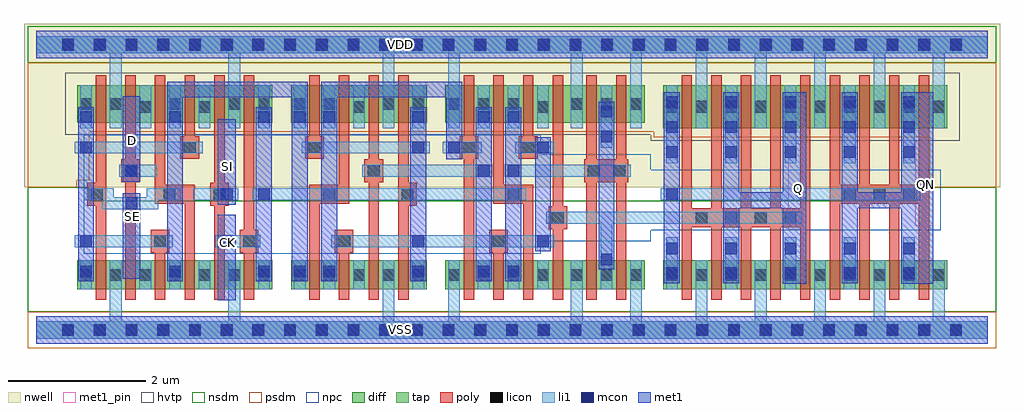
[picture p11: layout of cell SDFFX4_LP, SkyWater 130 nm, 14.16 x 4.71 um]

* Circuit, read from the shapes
.subckt SDFFX4_LP CK D Q QN SE SI VDD VSS
XM1 VSS SE n1 VSS sky130_fd_pr__nfet_01v8 w=0.42 l=0.15
XM2 n2 D VSS VSS sky130_fd_pr__nfet_01v8 w=0.42 l=0.15
XM3 n3 n1 n2 VSS sky130_fd_pr__nfet_01v8 w=0.42 l=0.15
XM4 n4 SE n3 VSS sky130_fd_pr__nfet_01v8 w=0.42 l=0.15
XM5 VSS SI n4 VSS sky130_fd_pr__nfet_01v8 w=0.42 l=0.15
XM6 n5 CK VSS VSS sky130_fd_pr__nfet_01v8 w=0.42 l=0.15
XM7 n6 n5 n3 VSS sky130_fd_pr__nfet_01v8 w=0.42 l=0.15
XM8 n7 n8 n6 VSS sky130_fd_pr__nfet_01v8 w=0.42 l=0.15
XM9 VSS n9 n7 VSS sky130_fd_pr__nfet_01v8 w=0.42 l=0.15
XM10 n8 n5 VSS VSS sky130_fd_pr__nfet_01v8 w=0.42 l=0.15
XM11 n9 n6 VSS VSS sky130_fd_pr__nfet_01v8 w=0.42 l=0.15
XM12 n10 n8 n9 VSS sky130_fd_pr__nfet_01v8 w=0.42 l=0.15
XM13 n11 n5 n10 VSS sky130_fd_pr__nfet_01v8 w=0.42 l=0.15
XM14 VSS n12 n11 VSS sky130_fd_pr__nfet_01v8 w=0.42 l=0.15
XM15 n12 n10 VSS VSS sky130_fd_pr__nfet_01v8 w=0.42 l=0.15 m=2
XM16 VSS n12 n13 VSS sky130_fd_pr__nfet_01v8 w=0.42 l=0.15
XM17 Q n12 VSS VSS sky130_fd_pr__nfet_01v8 w=0.42 l=0.15 m=4
XM18 QN n13 VSS VSS sky130_fd_pr__nfet_01v8 w=0.42 l=0.15 m=4
XM19 VDD SE n1 VDD sky130_fd_pr__pfet_01v8_hvt w=0.54 l=0.15
XM20 n14 D VDD VDD sky130_fd_pr__pfet_01v8_hvt w=0.54 l=0.15
XM21 n3 SE n14 VDD sky130_fd_pr__pfet_01v8_hvt w=0.54 l=0.15
XM22 n15 n1 n3 VDD sky130_fd_pr__pfet_01v8_hvt w=0.54 l=0.15
XM23 VDD SI n15 VDD sky130_fd_pr__pfet_01v8_hvt w=0.54 l=0.15
XM24 n5 CK VDD VDD sky130_fd_pr__pfet_01v8_hvt w=0.54 l=0.15
XM25 n6 n8 n3 VDD sky130_fd_pr__pfet_01v8_hvt w=0.54 l=0.15
XM26 n16 n5 n6 VDD sky130_fd_pr__pfet_01v8_hvt w=0.54 l=0.15
XM27 VDD n9 n16 VDD sky130_fd_pr__pfet_01v8_hvt w=0.54 l=0.15
XM28 n8 n5 VDD VDD sky130_fd_pr__pfet_01v8_hvt w=0.54 l=0.15
XM29 n9 n6 VDD VDD sky130_fd_pr__pfet_01v8_hvt w=0.54 l=0.15
XM30 n10 n5 n9 VDD sky130_fd_pr__pfet_01v8_hvt w=0.54 l=0.15
XM31 n17 n8 n10 VDD sky130_fd_pr__pfet_01v8_hvt w=0.54 l=0.15
XM32 VDD n12 n17 VDD sky130_fd_pr__pfet_01v8_hvt w=0.54 l=0.15
XM33 n12 n10 VDD VDD sky130_fd_pr__pfet_01v8_hvt w=0.54 l=0.15 m=2
XM34 VDD n12 n13 VDD sky130_fd_pr__pfet_01v8_hvt w=0.62 l=0.15
XM35 Q n12 VDD VDD sky130_fd_pr__pfet_01v8_hvt w=0.62 l=0.15 m=4
XM36 QN n13 VDD VDD sky130_fd_pr__pfet_01v8_hvt w=0.62 l=0.15 m=4
.ends

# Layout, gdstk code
from math import pi, radians
import gdstk
lib = gdstk.Library(unit=1e-6, precision=1e-09)
def R(c, l, rs):  # rectangles x0, y0, x1, y1
    for r in rs: c.add(gdstk.rectangle(r[:2], r[2:], *l))
def A(c, l, x, y, w, h, nx, ny, dx, dy):  # array of equal rectangles
    R(c, l, [(x+i*dx, y+j*dy, x+i*dx+w, y+j*dy+h) for i in range(nx) for j in range(ny)])
def P(c, l, *ps):  # polygons
    for p in ps: c.add(gdstk.Polygon(p, *l))
nwell = (64, 20)
diff = (65, 20)
tap = (65, 44)
poly = (66, 20)
licon = (66, 44)
li1 = (67, 20)
mcon = (67, 44)
met1_pin = (68, 16)
met1 = (68, 20)
hvtp = (78, 44)
nsdm = (93, 44)
psdm = (94, 20)
npc = (95, 20)

pyl1con_c_cdns_758729379 = lib.new_cell('PYL1CON_C_CDNS_758729379653')
R(pyl1con_c_cdns_758729379, poly, [(-0.135,-0.165,0.135,0.165)])
R(pyl1con_c_cdns_758729379, licon, [(-0.085,-0.085,0.085,0.085)])
R(pyl1con_c_cdns_758729379, npc, [(-0.185,-0.185,0.185,0.185)])

l1m1_c_cdns_758729379651 = lib.new_cell('L1M1_C_CDNS_7587293796510')
R(l1m1_c_cdns_758729379651, li1, [(-0.085,-0.525,0.085,0.525)])
A(l1m1_c_cdns_758729379651, mcon, -0.085, -0.445, 0.17, 0.17, 1, 3, 0, 0.36)
R(l1m1_c_cdns_758729379651, met1, [(-0.115,-0.505,0.115,0.505)])

l1m1_c_cdns_758729379655 = lib.new_cell('L1M1_C_CDNS_758729379655')
R(l1m1_c_cdns_758729379655, li1, [(-0.085,-0.165,0.085,0.165)])
R(l1m1_c_cdns_758729379655, mcon, [(-0.085,-0.085,0.085,0.085)])
R(l1m1_c_cdns_758729379655, met1, [(-0.115,-0.145,0.115,0.145)])

l1m1_c_cdns_758729379659 = lib.new_cell('L1M1_C_CDNS_758729379659')
R(l1m1_c_cdns_758729379659, li1, [(-0.085,-0.345,0.085,0.345)])
R(l1m1_c_cdns_758729379659, mcon, [(-0.085,-0.265,0.085,-0.095), (-0.085,0.095,0.085,0.265)])
R(l1m1_c_cdns_758729379659, met1, [(-0.115,-0.325,0.115,0.325)])

l1m1_c_cdns_758729379654 = lib.new_cell('L1M1_C_CDNS_758729379654')
R(l1m1_c_cdns_758729379654, li1, [(-0.165,-0.085,0.165,0.085)])
R(l1m1_c_cdns_758729379654, mcon, [(-0.085,-0.085,0.085,0.085)])
R(l1m1_c_cdns_758729379654, met1, [(-0.115,-0.145,0.115,0.145)])

licondiff_c_cdns_7587293 = lib.new_cell('LICONDIFF_C_CDNS_758729379657')
R(licondiff_c_cdns_7587293, diff, [(-0.125,-0.145,0.125,0.145)])
R(licondiff_c_cdns_7587293, licon, [(-0.085,-0.085,0.085,0.085), (-0.085,-0.085,0.085,0.085)])

c_pyl1con_c_cdns_758729379 = lib.new_cell('PYL1CON_C_CDNS_7587293796516')
R(c_pyl1con_c_cdns_758729379, poly, [(-0.135,-0.29,0.135,0.29)])
R(c_pyl1con_c_cdns_758729379, licon, [(-0.085,-0.085,0.085,0.085)])
R(c_pyl1con_c_cdns_758729379, npc, [(-0.185,-0.185,0.185,0.185)])

c_l1m1_c_cdns_758729379651 = lib.new_cell('L1M1_C_CDNS_7587293796519')
R(c_l1m1_c_cdns_758729379651, li1, [(-0.125,-0.085,0.125,0.085)])
R(c_l1m1_c_cdns_758729379651, mcon, [(-0.085,-0.085,0.085,0.085)])
R(c_l1m1_c_cdns_758729379651, met1, [(-0.115,-0.145,0.115,0.145)])

c_pyl1con_c_cdns_758729379_ = lib.new_cell('PYL1CON_C_CDNS_7587293796520')
R(c_pyl1con_c_cdns_758729379_, poly, [(-0.135,-0.37,0.135,0.21)])
R(c_pyl1con_c_cdns_758729379_, licon, [(-0.085,-0.085,0.085,0.085)])
R(c_pyl1con_c_cdns_758729379_, npc, [(-0.185,-0.185,0.185,0.185)])

sdffx4_lp = lib.new_cell('SDFFX4_LP')
R(sdffx4_lp, nwell, [(-0.18,2.07,13.98,4.445)])
R(sdffx4_lp, diff, [(0.595,0.59,3.425,1.01), (3.695,0.59,5.665,1.01), (5.935,0.59,8.825,1.01), (9.095,0.59,13.215,1.01), (9.095,2.93,13.215,3.55), (0.595,3.01,3.425,3.55), (3.695,3.01,5.665,3.55), (5.935,3.01,8.825,3.55)])
A(sdffx4_lp, poly, 9.36, 0.44, 0.15, 3.26, 9, 1, 0.43, 0)
R(sdffx4_lp, poly, [(0.86,0.44,1.01,3.7), (1.29,0.44,1.44,3.7), (1.72,0.44,1.87,1.16), (2.58,0.44,2.73,3.7), (3.01,0.44,3.16,3.7), (4.39,0.44,4.54,1.16), (4.82,0.44,4.97,3.7), (5.25,0.44,5.4,3.7), (6.2,0.44,6.35,3.7), (6.63,0.44,6.78,1.16), (7.49,0.44,7.64,3.7), (2.15,2.65,2.3,3.7), (3.96,2.65,4.11,3.7), (7.06,2.65,7.21,3.7)])
P(sdffx4_lp, poly, [(2.3,2.045),(1.87,2.045),(1.87,3.7),(1.72,3.7),(1.72,1.895),(2.15,1.895),(2.15,0.44),(2.3,0.44)],
  [(4.54,3.7),(4.39,3.7),(4.39,2.045),(3.96,2.045),(3.96,0.44),(4.11,0.44),(4.11,1.895),(4.54,1.895)],
  [(7.21,2.045),(6.78,2.045),(6.78,3.7),(6.63,3.7),(6.63,1.895),(7.06,1.895),(7.06,0.44),(7.21,0.44)],
  [(8.59,2.475),(8.56,2.475),(8.56,3.7),(8.41,3.7),(8.41,2.475),(8.13,2.475),(8.13,3.7),(7.98,3.7),(7.98,2.475),(7.95,2.475),(7.95,2.145),(7.98,2.145),(7.98,0.44),(8.13,0.44),(8.13,2.145),(8.41,2.145),(8.41,0.44),(8.56,0.44),(8.56,2.145),(8.59,2.145)])
A(sdffx4_lp, licon, 0.375, -0.085, 0.17, 0.17, 29, 2, 0.46, 4.14)
A(sdffx4_lp, licon, 1.065, 0.715, 0.17, 0.17, 3, 2, 0.86, 2.48)
A(sdffx4_lp, licon, 5.975, 0.715, 0.17, 0.17, 3, 2, 0.43, 2.48)
A(sdffx4_lp, licon, 7.755, 0.715, 0.17, 0.17, 3, 2, 0.43, 2.48)
A(sdffx4_lp, licon, 9.135, 0.715, 0.17, 0.17, 10, 2, 0.43, 2.44)
R(sdffx4_lp, licon, [(0.635,0.715,0.805,0.885), (3.215,0.715,3.385,0.885), (3.735,0.715,3.905,0.885), (4.165,0.715,4.335,0.885), (5.025,0.715,5.195,0.885), (5.455,0.715,5.625,0.885), (0.635,3.195,0.805,3.365), (3.215,3.195,3.385,3.365), (3.735,3.195,3.905,3.365), (4.165,3.195,4.335,3.365), (5.025,3.195,5.195,3.365), (5.455,3.195,5.625,3.365)])
A(sdffx4_lp, li1, 0.635, 0.59, 0.17, 0.42, 3, 1, 1.29, 0)
A(sdffx4_lp, li1, 9.135, 0.59, 0.17, 0.42, 5, 1, 0.86, 0)
A(sdffx4_lp, li1, 9.135, 2.93, 0.17, 0.62, 5, 1, 0.86, 0)
A(sdffx4_lp, li1, 0.635, 3.01, 0.17, 0.54, 3, 1, 1.29, 0)
R(sdffx4_lp, li1, [(3.735,0.59,3.905,1.01), (4.165,0.59,4.335,1.01), (5.455,0.59,5.625,1.01), (6.405,0.59,6.575,1.01), (6.835,0.59,7.005,1.01), (3.735,3.01,3.905,3.55), (4.165,3.01,4.335,3.55), (5.455,3.01,5.625,3.55), (6.405,3.01,6.575,3.55), (6.835,3.01,7.005,3.55), (8.185,3.01,8.355,3.55)])
P(sdffx4_lp, li1, [(2.095,2.055),(1.6,2.055),(1.6,1.925),(1.12,1.925),(1.12,2.055),(0.69,2.055),(0.69,1.885),(0.95,1.885),(0.95,1.755),(1.77,1.755),(1.77,1.885),(2.095,1.885)],
  [(11.105,1.715),(7.4,1.715),(7.4,1.545),(8.185,1.545),(8.185,0.59),(8.355,0.59),(8.355,1.545),(11.105,1.545)],
  [(13.8,4.265),(0,4.265),(0,4.015),(1.065,4.015),(1.065,2.925),(1.235,2.925),(1.235,4.015),(2.785,4.015),(2.785,2.925),(2.955,2.925),(2.955,4.015),(5.025,4.015),(5.025,2.925),(5.195,2.925),(5.195,4.015),(5.975,4.015),(5.975,2.925),(6.145,2.925),(6.145,4.015),(7.755,4.015),(7.755,2.925),(7.925,2.925),(7.925,4.015),(8.615,4.015),(8.615,2.925),(8.785,2.925),(8.785,4.015),(9.565,4.015),(9.565,2.925),(9.735,2.925),(9.735,4.015),(10.425,4.015),(10.425,2.925),(10.595,2.925),(10.595,4.015),(11.285,4.015),(11.285,2.925),(11.455,2.925),(11.455,4.015),(12.145,4.015),(12.145,2.925),(12.315,2.925),(12.315,4.015),(13.005,4.015),(13.005,2.925),(13.175,2.925),(13.175,4.015),(13.8,4.015)],
  [(13.8,0.125),(13.175,0.125),(13.175,1.015),(13.005,1.015),(13.005,0.125),(12.315,0.125),(12.315,1.015),(12.145,1.015),(12.145,0.125),(11.455,0.125),(11.455,1.015),(11.285,1.015),(11.285,0.125),(10.595,0.125),(10.595,1.015),(10.425,1.015),(10.425,0.125),(9.735,0.125),(9.735,1.015),(9.565,1.015),(9.565,0.125),(8.785,0.125),(8.785,1.015),(8.615,1.015),(8.615,0.125),(7.925,0.125),(7.925,1.015),(7.755,1.015),(7.755,0.125),(6.145,0.125),(6.145,1.015),(5.975,1.015),(5.975,0.125),(5.195,0.125),(5.195,1.015),(5.025,1.015),(5.025,0.125),(2.955,0.125),(2.955,1.015),(2.785,1.015),(2.785,0.125),(1.235,0.125),(1.235,1.015),(1.065,1.015),(1.065,0.125),(0,0.125),(0,-0.125),(13.8,-0.125)])
A(sdffx4_lp, mcon, 0.375, -0.085, 0.17, 0.17, 29, 2, 0.46, 4.14)
R(sdffx4_lp, met1_pin, [(2.63,0.435,2.89,1.675), (1.25,0.745,1.51,1.985), (10.91,1.465,11.17,2.705), (12.75,1.515,13.01,2.755), (2.63,1.82,2.89,3.06), (1.25,2.15,1.51,3.39)])
P(sdffx4_lp, met1, [(11.17,3.45),(10.825,3.45),(10.825,2),(10.195,2),(10.195,3.45),(9.965,3.45),(9.965,0.68),(10.195,0.68),(10.195,1.77),(10.825,1.77),(10.825,0.675),(11.17,0.675)],
  [(13.01,3.45),(12.545,3.45),(12.545,2),(11.915,2),(11.915,3.45),(11.685,3.45),(11.685,0.68),(11.915,0.68),(11.915,1.77),(12.545,1.77),(12.545,0.675),(13.01,0.675)])
P(sdffx4_lp, hvtp, [(13.395,3.73),(0.415,3.73),(0.415,2.83),(8.915,2.83),(8.915,2.75),(13.395,2.75)])
R(sdffx4_lp, nsdm, [(-0.125,3.875,13.925,4.405)])
P(sdffx4_lp, nsdm, [(13.925,2.07),(12.765,2.07),(12.765,1.875),(0.77,1.875),(0.77,2.07),(-0.125,2.07),(-0.125,0.265),(13.925,0.265)])
R(sdffx4_lp, psdm, [(-0.125,-0.265,13.925,0.265)])
P(sdffx4_lp, psdm, [(13.925,3.875),(-0.125,3.875),(-0.125,2.07),(0.585,2.07),(0.585,2.17),(0.77,2.17),(0.77,2.88),(8.955,2.88),(8.955,2.8),(12.95,2.8),(12.95,2.07),(13.925,2.07)])
P(sdffx4_lp, npc, [(13.12,2.325),(8.915,2.325),(8.915,2.55),(7.32,2.55),(7.32,2.835),(0.69,2.835),(0.69,1.11),(7.32,1.11),(7.32,1.285),(8.915,1.285),(8.915,1.445),(13.12,1.445)])
sdffx4_lp.add(gdstk.FlexPath([(5.895,2.65),(6.46,2.65)], 0.17, ends="flush", simple_path=True, layer=67, datatype=20))  # li1
sdffx4_lp.add(gdstk.FlexPath([(3.85,2.65),(5.705,2.65)], 0.17, ends="flush", simple_path=True, layer=67, datatype=20))  # li1
sdffx4_lp.add(gdstk.FlexPath([(6.615,2.31),(4.73,2.31)], 0.17, ends="flush", simple_path=True, layer=67, datatype=20))  # li1
sdffx4_lp.add(gdstk.FlexPath([(0.555,1.29),(1.98,1.29)], 0.17, ends="flush", simple_path=True, layer=67, datatype=20))  # li1
sdffx4_lp.add(gdstk.FlexPath([(4.68,2.925),(4.68,3.55)], 0.17, ends="flush", simple_path=True, layer=67, datatype=20))  # li1
sdffx4_lp.add(gdstk.FlexPath([(4.68,0.59),(4.68,1.015)], 0.17, ends="flush", simple_path=True, layer=67, datatype=20))  # li1
sdffx4_lp.add(gdstk.FlexPath([(2.82,1.97),(2.275,1.97)], 0.17, ends="flush", simple_path=True, layer=67, datatype=20))  # li1
sdffx4_lp.add(gdstk.FlexPath([(3.25,1.29),(2.705,1.29)], 0.17, ends="flush", simple_path=True, layer=67, datatype=20))  # li1
sdffx4_lp.add(gdstk.FlexPath([(3.135,1.97),(7.105,1.97)], 0.17, ends="flush", simple_path=True, layer=67, datatype=20))  # li1
sdffx4_lp.add(gdstk.FlexPath([(7.35,0.59),(7.35,1.015)], 0.17, ends="flush", simple_path=True, layer=67, datatype=20))  # li1
sdffx4_lp.add(gdstk.FlexPath([(7.35,2.925),(7.35,3.55)], 0.17, ends="flush", simple_path=True, layer=67, datatype=20))  # li1
sdffx4_lp.add(gdstk.FlexPath([(6.95,2.65),(7.515,2.65)], 0.17, ends="flush", simple_path=True, layer=67, datatype=20))  # li1
sdffx4_lp.add(gdstk.FlexPath([(0.555,2.65),(2.41,2.65)], 0.17, ends="flush", simple_path=True, layer=67, datatype=20))  # li1
sdffx4_lp.add(gdstk.FlexPath([(1.58,2.925),(1.58,3.55)], 0.17, ends="flush", simple_path=True, layer=67, datatype=20))  # li1
sdffx4_lp.add(gdstk.FlexPath([(2.44,2.925),(2.44,3.55)], 0.17, ends="flush", simple_path=True, layer=67, datatype=20))  # li1
sdffx4_lp.add(gdstk.FlexPath([(6.795,2.31),(8.62,2.31)], 0.17, ends="flush", simple_path=True, layer=67, datatype=20))  # li1
sdffx4_lp.add(gdstk.FlexPath([(4.28,1.29),(7.515,1.29)], 0.17, ends="flush", simple_path=True, layer=67, datatype=20))  # li1
sdffx4_lp.add(gdstk.FlexPath([(9.22,1.97),(12.825,1.97)], 0.17, ends="flush", simple_path=True, layer=67, datatype=20))  # li1
sdffx4_lp.add(gdstk.FlexPath([(1.58,0.59),(1.58,1.015)], 0.17, ends="flush", simple_path=True, layer=67, datatype=20))  # li1
sdffx4_lp.add(gdstk.FlexPath([(2.44,0.59),(2.44,1.015)], 0.17, ends="flush", simple_path=True, layer=67, datatype=20))  # li1
sdffx4_lp.add(gdstk.FlexPath([(1.745,2.31),(1.2,2.31)], 0.17, ends="flush", simple_path=True, layer=67, datatype=20))  # li1
sdffx4_lp.add(gdstk.FlexPath([(0,4.14),(13.8,4.14)], 0.4, ends="flush", simple_path=True, layer=68, datatype=20))  # met1
sdffx4_lp.add(gdstk.FlexPath([(0,0),(13.8,0)], 0.4, ends="flush", simple_path=True, layer=68, datatype=20))  # met1
sdffx4_lp.add(gdstk.FlexPath([(7.35,1.145),(7.35,2.795)], 0.23, ends="flush", simple_path=True, layer=68, datatype=20))  # met1
sdffx4_lp.add(gdstk.FlexPath([(2.01,0.705),(2.01,3.49),(3.82,3.49),(3.82,0.705)], 0.23, ends="flush", simple_path=True, layer=68, datatype=20))  # met1
sdffx4_lp.add(gdstk.FlexPath([(6.06,2.475),(6.06,3.49),(4.25,3.49),(4.25,0.705)], 0.23, ends="flush", simple_path=True, layer=68, datatype=20))  # met1
sdffx4_lp.add(gdstk.FlexPath([(0.72,0.705),(0.72,3.235)], 0.23, ends="flush", simple_path=True, layer=68, datatype=20))  # met1
sdffx4_lp.add(gdstk.FlexPath([(5.54,0.705),(5.54,3.235)], 0.23, ends="flush", simple_path=True, layer=68, datatype=20))  # met1
sdffx4_lp.add(gdstk.FlexPath([(3.3,0.705),(3.3,3.235)], 0.23, ends="flush", simple_path=True, layer=68, datatype=20))  # met1
sdffx4_lp.add(gdstk.FlexPath([(2.76,1.82),(2.76,3.06)], 0.26, ends="flush", simple_path=True, layer=68, datatype=20))  # met1
sdffx4_lp.add(gdstk.FlexPath([(1.38,2.15),(1.38,3.39)], 0.26, ends="flush", simple_path=True, layer=68, datatype=20))  # met1
sdffx4_lp.add(gdstk.FlexPath([(6.92,0.705),(6.92,3.235)], 0.23, ends="flush", simple_path=True, layer=68, datatype=20))  # met1
sdffx4_lp.add(gdstk.FlexPath([(9.22,0.68),(9.22,3.45)], 0.23, ends="flush", simple_path=True, layer=68, datatype=20))  # met1
sdffx4_lp.add(gdstk.FlexPath([(8.27,0.88),(8.27,3.315)], 0.23, ends="flush", simple_path=True, layer=68, datatype=20))  # met1
sdffx4_lp.add(gdstk.FlexPath([(2.76,0.435),(2.76,1.675)], 0.26, ends="flush", simple_path=True, layer=68, datatype=20))  # met1
sdffx4_lp.add(gdstk.FlexPath([(1.38,0.745),(1.38,1.985)], 0.26, ends="flush", simple_path=True, layer=68, datatype=20))  # met1
sdffx4_lp.add(gdstk.FlexPath([(6.49,0.705),(6.49,3.235)], 0.23, ends="flush", simple_path=True, layer=68, datatype=20))  # met1
sdffx4_lp.add(gdstk.FlexPath([(0,4.14),(13.8,4.14)], 0.4, ends="flush", simple_path=True, layer=68, datatype=16))  # met1_pin
sdffx4_lp.add(gdstk.FlexPath([(0,0),(13.8,0)], 0.4, ends="flush", simple_path=True, layer=68, datatype=16))  # met1_pin
sdffx4_lp.add(gdstk.FlexPath([(0,4.14),(13.8,4.14)], 0.25, ends="flush", simple_path=True, layer=65, datatype=44))  # tap
sdffx4_lp.add(gdstk.FlexPath([(0,0),(13.8,0)], 0.25, ends="flush", simple_path=True, layer=65, datatype=44))  # tap
sdffx4_lp.add(gdstk.Reference(pyl1con_c_cdns_758729379, (6.275,2.65), rotation=pi))
sdffx4_lp.add(gdstk.Reference(pyl1con_c_cdns_758729379, (7.565,1.63), rotation=pi, x_reflection=True))
sdffx4_lp.add(gdstk.Reference(pyl1con_c_cdns_758729379, (5.385,1.97), rotation=pi))
sdffx4_lp.add(gdstk.Reference(pyl1con_c_cdns_758729379, (3.085,1.29), x_reflection=True))
sdffx4_lp.add(gdstk.Reference(pyl1con_c_cdns_758729379, (2.655,1.97), x_reflection=True))
sdffx4_lp.add(gdstk.Reference(pyl1con_c_cdns_758729379, (2.225,2.65), rotation=pi))
sdffx4_lp.add(gdstk.Reference(pyl1con_c_cdns_758729379, (1.795,1.29), x_reflection=True))
sdffx4_lp.add(gdstk.Reference(pyl1con_c_cdns_758729379, (4.465,1.29), rotation=pi))
sdffx4_lp.add(gdstk.Reference(pyl1con_c_cdns_758729379, (4.035,2.65), x_reflection=True))
sdffx4_lp.add(gdstk.Reference(pyl1con_c_cdns_758729379, (7.135,2.65), rotation=pi))
sdffx4_lp.add(gdstk.Reference(pyl1con_c_cdns_758729379, (6.705,1.29), x_reflection=True))
sdffx4_lp.add(gdstk.Reference(pyl1con_c_cdns_758729379, (11.8,1.97), rotation=3*pi/2, x_reflection=True))
sdffx4_lp.add(gdstk.Reference(pyl1con_c_cdns_758729379, (12.23,1.97), rotation=3*pi/2, x_reflection=True))
sdffx4_lp.add(gdstk.Reference(pyl1con_c_cdns_758729379, (10.94,1.63), rotation=3*pi/2, x_reflection=True))
sdffx4_lp.add(gdstk.Reference(pyl1con_c_cdns_758729379, (10.51,1.63), rotation=3*pi/2, x_reflection=True))
sdffx4_lp.add(gdstk.Reference(pyl1con_c_cdns_758729379, (10.08,1.63), rotation=3*pi/2, x_reflection=True))
sdffx4_lp.add(gdstk.Reference(pyl1con_c_cdns_758729379, (12.66,1.97), rotation=3*pi/2, x_reflection=True))
sdffx4_lp.add(gdstk.Reference(pyl1con_c_cdns_758729379, (0.875,1.97)))
sdffx4_lp.add(gdstk.Reference(pyl1con_c_cdns_758729379, (4.895,2.31)))
sdffx4_lp.add(gdstk.Reference(pyl1con_c_cdns_758729379, (8.455,2.31), rotation=pi, x_reflection=True))
sdffx4_lp.add(gdstk.Reference(pyl1con_c_cdns_758729379, (8.085,2.31), rotation=pi, x_reflection=True))
sdffx4_lp.add(gdstk.Reference(pyl1con_c_cdns_758729379, (1.365,2.31)))
sdffx4_lp.add(gdstk.Reference(pyl1con_c_cdns_758729379, (9.65,1.63), rotation=3*pi/2, x_reflection=True))
sdffx4_lp.add(gdstk.Reference(l1m1_c_cdns_758729379651, (11.8,2.945)))
sdffx4_lp.add(gdstk.Reference(l1m1_c_cdns_758729379651, (12.66,2.945)))
sdffx4_lp.add(gdstk.Reference(l1m1_c_cdns_758729379651, (9.22,2.945)))
sdffx4_lp.add(gdstk.Reference(l1m1_c_cdns_758729379651, (10.94,2.945)))
sdffx4_lp.add(gdstk.Reference(l1m1_c_cdns_758729379651, (10.08,2.945)))
sdffx4_lp.add(gdstk.Reference(l1m1_c_cdns_758729379655, (3.82,3.09)))
sdffx4_lp.add(gdstk.Reference(l1m1_c_cdns_758729379655, (3.82,0.85)))
sdffx4_lp.add(gdstk.Reference(l1m1_c_cdns_758729379655, (2.01,3.09)))
sdffx4_lp.add(gdstk.Reference(l1m1_c_cdns_758729379655, (2.01,0.85)))
sdffx4_lp.add(gdstk.Reference(l1m1_c_cdns_758729379655, (0.72,3.09)))
sdffx4_lp.add(gdstk.Reference(l1m1_c_cdns_758729379655, (0.72,0.85)))
sdffx4_lp.add(gdstk.Reference(l1m1_c_cdns_758729379655, (5.54,0.85), rotation=pi, x_reflection=True))
sdffx4_lp.add(gdstk.Reference(l1m1_c_cdns_758729379655, (5.54,3.09), rotation=pi, x_reflection=True))
sdffx4_lp.add(gdstk.Reference(l1m1_c_cdns_758729379655, (3.3,0.85)))
sdffx4_lp.add(gdstk.Reference(l1m1_c_cdns_758729379655, (3.3,3.09)))
sdffx4_lp.add(gdstk.Reference(l1m1_c_cdns_758729379655, (4.25,3.09)))
sdffx4_lp.add(gdstk.Reference(l1m1_c_cdns_758729379655, (4.25,0.85)))
sdffx4_lp.add(gdstk.Reference(l1m1_c_cdns_758729379655, (6.49,0.85)))
sdffx4_lp.add(gdstk.Reference(l1m1_c_cdns_758729379655, (6.49,3.09)))
sdffx4_lp.add(gdstk.Reference(l1m1_c_cdns_758729379655, (6.92,0.85), rotation=pi, x_reflection=True))
sdffx4_lp.add(gdstk.Reference(l1m1_c_cdns_758729379655, (6.92,3.09), rotation=pi, x_reflection=True))
sdffx4_lp.add(gdstk.Reference(l1m1_c_cdns_758729379655, (8.27,1.025), rotation=pi, x_reflection=True))
sdffx4_lp.add(gdstk.Reference(l1m1_c_cdns_758729379659, (8.27,2.99), rotation=pi, x_reflection=True))
sdffx4_lp.add(gdstk.Reference(l1m1_c_cdns_758729379659, (11.8,1.005)))
sdffx4_lp.add(gdstk.Reference(l1m1_c_cdns_758729379659, (12.66,1.005)))
sdffx4_lp.add(gdstk.Reference(l1m1_c_cdns_758729379659, (10.94,1.005)))
sdffx4_lp.add(gdstk.Reference(l1m1_c_cdns_758729379659, (10.08,1.005)))
sdffx4_lp.add(gdstk.Reference(l1m1_c_cdns_758729379659, (9.22,1.005)))
sdffx4_lp.add(gdstk.Reference(l1m1_c_cdns_758729379654, (6.06,2.65)))
sdffx4_lp.add(gdstk.Reference(l1m1_c_cdns_758729379654, (7.35,2.65)))
sdffx4_lp.add(gdstk.Reference(l1m1_c_cdns_758729379654, (7.35,1.29)))
sdffx4_lp.add(gdstk.Reference(l1m1_c_cdns_758729379654, (2.76,1.97), x_reflection=True))
sdffx4_lp.add(gdstk.Reference(l1m1_c_cdns_758729379654, (2.76,1.29), x_reflection=True))
sdffx4_lp.add(gdstk.Reference(l1m1_c_cdns_758729379654, (3.3,1.97)))
sdffx4_lp.add(gdstk.Reference(l1m1_c_cdns_758729379654, (5.54,2.65), rotation=pi, x_reflection=True))
sdffx4_lp.add(gdstk.Reference(l1m1_c_cdns_758729379654, (5.54,1.29), rotation=pi, x_reflection=True))
sdffx4_lp.add(gdstk.Reference(l1m1_c_cdns_758729379654, (1.38,1.84), x_reflection=True))
sdffx4_lp.add(gdstk.Reference(l1m1_c_cdns_758729379654, (1.38,2.31), x_reflection=True))
sdffx4_lp.add(gdstk.Reference(l1m1_c_cdns_758729379654, (9.22,1.97)))
sdffx4_lp.add(gdstk.Reference(l1m1_c_cdns_758729379654, (0.72,1.29)))
sdffx4_lp.add(gdstk.Reference(l1m1_c_cdns_758729379654, (0.72,2.65)))
sdffx4_lp.add(gdstk.Reference(licondiff_c_cdns_7587293, (4.68,3.235)))
sdffx4_lp.add(gdstk.Reference(licondiff_c_cdns_7587293, (4.68,0.8)))
sdffx4_lp.add(gdstk.Reference(licondiff_c_cdns_7587293, (7.35,3.235)))
sdffx4_lp.add(gdstk.Reference(licondiff_c_cdns_7587293, (7.35,0.8)))
sdffx4_lp.add(gdstk.Reference(licondiff_c_cdns_7587293, (2.44,0.8)))
sdffx4_lp.add(gdstk.Reference(licondiff_c_cdns_7587293, (1.58,0.8)))
sdffx4_lp.add(gdstk.Reference(licondiff_c_cdns_7587293, (2.44,3.235)))
sdffx4_lp.add(gdstk.Reference(licondiff_c_cdns_7587293, (1.58,3.235)))
sdffx4_lp.add(gdstk.Reference(c_pyl1con_c_cdns_758729379, (4.25,1.97), rotation=pi/2, x_reflection=True))
sdffx4_lp.add(gdstk.Reference(c_pyl1con_c_cdns_758729379, (6.92,1.97), rotation=pi/2))
sdffx4_lp.add(gdstk.Reference(c_l1m1_c_cdns_758729379651, (6.49,2.31), rotation=pi, x_reflection=True))
sdffx4_lp.add(gdstk.Reference(c_l1m1_c_cdns_758729379651, (6.92,2.31), rotation=pi, x_reflection=True))
sdffx4_lp.add(gdstk.Reference(c_pyl1con_c_cdns_758729379_, (1.93,1.97), rotation=pi/2))
sdffx4_lp.add(gdstk.Label('SE', (1.395,1.65), layer=68, texttype=5))
sdffx4_lp.add(gdstk.Label('SI', (2.775,2.375), layer=68, texttype=5))
sdffx4_lp.add(gdstk.Label('D', (1.395,2.745), layer=68, texttype=5))
sdffx4_lp.add(gdstk.Label('Q', (11.055,2.06), layer=68, texttype=5))
sdffx4_lp.add(gdstk.Label('QN', (12.895,2.11), layer=68, texttype=5))
sdffx4_lp.add(gdstk.Label('CK', (2.775,1.265), layer=68, texttype=5))
sdffx4_lp.add(gdstk.Label('VDD', (5.285,4.145), layer=68, texttype=5))
sdffx4_lp.add(gdstk.Label('VSS', (5.285,0.005), layer=68, texttype=5))

lib.write_gds('SDFFX4_LP.gds')
